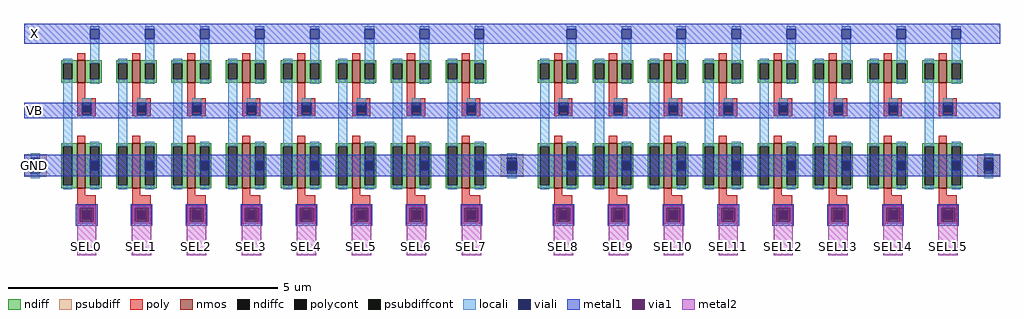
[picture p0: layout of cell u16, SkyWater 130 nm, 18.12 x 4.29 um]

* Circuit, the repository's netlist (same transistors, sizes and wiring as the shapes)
* NGSPICE file created from u16.ext - technology: sky130A

.subckt u16 SEL0 SEL1 SEL2 SEL3 SEL4 SEL5 SEL6 SEL7 SEL8 SEL9 SEL10 SEL11 SEL12 SEL13
+ SEL14 SEL15 X VB GND
X0 GND SEL9 a_2112_n392# GND sky130_fd_pr__nfet_01v8 ad=0.252 pd=2.28 as=0.252 ps=2.28 w=0.84 l=0.15
X1 X VB a_2928_n392# GND sky130_fd_pr__nfet_01v8 ad=0.126 pd=1.44 as=0.126 ps=1.44 w=0.42 l=0.15
X2 X VB a_342_n392# GND sky130_fd_pr__nfet_01v8 ad=0.126 pd=1.44 as=0.126 ps=1.44 w=0.42 l=0.15
X3 GND SEL5 a_1158_n392# GND sky130_fd_pr__nfet_01v8 ad=0.252 pd=2.28 as=0.252 ps=2.28 w=0.84 l=0.15
X4 GND SEL3 a_750_n392# GND sky130_fd_pr__nfet_01v8 ad=0.252 pd=2.28 as=0.252 ps=2.28 w=0.84 l=0.15
X5 X VB a_954_n392# GND sky130_fd_pr__nfet_01v8 ad=0.126 pd=1.44 as=0.126 ps=1.44 w=0.42 l=0.15
X6 X VB a_3132_n392# GND sky130_fd_pr__nfet_01v8 ad=0.126 pd=1.44 as=0.126 ps=1.44 w=0.42 l=0.15
X7 X VB a_546_n392# GND sky130_fd_pr__nfet_01v8 ad=0.126 pd=1.44 as=0.126 ps=1.44 w=0.42 l=0.15
X8 GND SEL13 a_2928_n392# GND sky130_fd_pr__nfet_01v8 ad=0.252 pd=2.28 as=0.252 ps=2.28 w=0.84 l=0.15
X9 GND SEL11 a_2520_n392# GND sky130_fd_pr__nfet_01v8 ad=0.252 pd=2.28 as=0.252 ps=2.28 w=0.84 l=0.15
X10 X VB a_1158_n392# GND sky130_fd_pr__nfet_01v8 ad=0.126 pd=1.44 as=0.126 ps=1.44 w=0.42 l=0.15
X11 X VB a_3336_n392# GND sky130_fd_pr__nfet_01v8 ad=0.126 pd=1.44 as=0.126 ps=1.44 w=0.42 l=0.15
X12 GND SEL14 a_3132_n392# GND sky130_fd_pr__nfet_01v8 ad=0.252 pd=2.28 as=0.252 ps=2.28 w=0.84 l=0.15
X13 GND SEL7 a_1566_n392# GND sky130_fd_pr__nfet_01v8 ad=0.252 pd=2.28 as=0.252 ps=2.28 w=0.84 l=0.15
X14 X VB a_1908_n392# GND sky130_fd_pr__nfet_01v8 ad=0.126 pd=1.44 as=0.126 ps=1.44 w=0.42 l=0.15
X15 X VB a_138_n392# GND sky130_fd_pr__nfet_01v8 ad=0.126 pd=1.44 as=0.126 ps=1.44 w=0.42 l=0.15
X16 X VB a_750_n392# GND sky130_fd_pr__nfet_01v8 ad=0.126 pd=1.44 as=0.126 ps=1.44 w=0.42 l=0.15
X17 GND SEL0 a_138_n392# GND sky130_fd_pr__nfet_01v8 ad=0.252 pd=2.28 as=0.252 ps=2.28 w=0.84 l=0.15
X18 GND SEL2 a_546_n392# GND sky130_fd_pr__nfet_01v8 ad=0.252 pd=2.28 as=0.252 ps=2.28 w=0.84 l=0.15
X19 X VB a_1362_n392# GND sky130_fd_pr__nfet_01v8 ad=0.126 pd=1.44 as=0.126 ps=1.44 w=0.42 l=0.15
X20 GND SEL10 a_2316_n392# GND sky130_fd_pr__nfet_01v8 ad=0.252 pd=2.28 as=0.252 ps=2.28 w=0.84 l=0.15
X21 X VB a_2112_n392# GND sky130_fd_pr__nfet_01v8 ad=0.126 pd=1.44 as=0.126 ps=1.44 w=0.42 l=0.15
X22 X VB a_1566_n392# GND sky130_fd_pr__nfet_01v8 ad=0.126 pd=1.44 as=0.126 ps=1.44 w=0.42 l=0.15
X23 GND SEL4 a_954_n392# GND sky130_fd_pr__nfet_01v8 ad=0.252 pd=2.28 as=0.252 ps=2.28 w=0.84 l=0.15
X24 X VB a_2316_n392# GND sky130_fd_pr__nfet_01v8 ad=0.126 pd=1.44 as=0.126 ps=1.44 w=0.42 l=0.15
X25 GND SEL12 a_2724_n392# GND sky130_fd_pr__nfet_01v8 ad=0.252 pd=2.28 as=0.252 ps=2.28 w=0.84 l=0.15
X26 X VB a_2520_n392# GND sky130_fd_pr__nfet_01v8 ad=0.126 pd=1.44 as=0.126 ps=1.44 w=0.42 l=0.15
X27 GND SEL15 a_3336_n392# GND sky130_fd_pr__nfet_01v8 ad=0.252 pd=2.28 as=0.252 ps=2.28 w=0.84 l=0.15
X28 GND SEL6 a_1362_n392# GND sky130_fd_pr__nfet_01v8 ad=0.252 pd=2.28 as=0.252 ps=2.28 w=0.84 l=0.15
X29 GND SEL1 a_342_n392# GND sky130_fd_pr__nfet_01v8 ad=0.252 pd=2.28 as=0.252 ps=2.28 w=0.84 l=0.15
X30 GND SEL8 a_1908_n392# GND sky130_fd_pr__nfet_01v8 ad=0.252 pd=2.28 as=0.252 ps=2.28 w=0.84 l=0.15
X31 X VB a_2724_n392# GND sky130_fd_pr__nfet_01v8 ad=0.126 pd=1.44 as=0.126 ps=1.44 w=0.42 l=0.15
.ends

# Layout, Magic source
magic
tech sky130A
magscale 1 2
<< nmos >>
rect 198 0 228 84
rect 402 0 432 84
rect 606 0 636 84
rect 810 0 840 84
rect 1014 0 1044 84
rect 1218 0 1248 84
rect 1422 0 1452 84
rect 1626 0 1656 84
rect 1968 0 1998 84
rect 2172 0 2202 84
rect 2376 0 2406 84
rect 2580 0 2610 84
rect 2784 0 2814 84
rect 2988 0 3018 84
rect 3192 0 3222 84
rect 3396 0 3426 84
rect 198 -392 228 -224
rect 402 -392 432 -224
rect 606 -392 636 -224
rect 810 -392 840 -224
rect 1014 -392 1044 -224
rect 1218 -392 1248 -224
rect 1422 -392 1452 -224
rect 1626 -392 1656 -224
rect 1968 -392 1998 -224
rect 2172 -392 2202 -224
rect 2376 -392 2406 -224
rect 2580 -392 2610 -224
rect 2784 -392 2814 -224
rect 2988 -392 3018 -224
rect 3192 -392 3222 -224
rect 3396 -392 3426 -224
<< ndiff >>
rect 138 72 198 84
rect 138 12 146 72
rect 180 12 198 72
rect 138 0 198 12
rect 228 72 288 84
rect 228 12 246 72
rect 280 12 288 72
rect 228 0 288 12
rect 342 72 402 84
rect 342 12 350 72
rect 384 12 402 72
rect 342 0 402 12
rect 432 72 492 84
rect 432 12 450 72
rect 484 12 492 72
rect 432 0 492 12
rect 546 72 606 84
rect 546 12 554 72
rect 588 12 606 72
rect 546 0 606 12
rect 636 72 696 84
rect 636 12 654 72
rect 688 12 696 72
rect 636 0 696 12
rect 750 72 810 84
rect 750 12 758 72
rect 792 12 810 72
rect 750 0 810 12
rect 840 72 900 84
rect 840 12 858 72
rect 892 12 900 72
rect 840 0 900 12
rect 954 72 1014 84
rect 954 12 962 72
rect 996 12 1014 72
rect 954 0 1014 12
rect 1044 72 1104 84
rect 1044 12 1062 72
rect 1096 12 1104 72
rect 1044 0 1104 12
rect 1158 72 1218 84
rect 1158 12 1166 72
rect 1200 12 1218 72
rect 1158 0 1218 12
rect 1248 72 1308 84
rect 1248 12 1266 72
rect 1300 12 1308 72
rect 1248 0 1308 12
rect 1362 72 1422 84
rect 1362 12 1370 72
rect 1404 12 1422 72
rect 1362 0 1422 12
rect 1452 72 1512 84
rect 1452 12 1470 72
rect 1504 12 1512 72
rect 1452 0 1512 12
rect 1566 72 1626 84
rect 1566 12 1574 72
rect 1608 12 1626 72
rect 1566 0 1626 12
rect 1656 72 1716 84
rect 1656 12 1674 72
rect 1708 12 1716 72
rect 1656 0 1716 12
rect 1908 72 1968 84
rect 1908 12 1916 72
rect 1950 12 1968 72
rect 1908 0 1968 12
rect 1998 72 2058 84
rect 1998 12 2016 72
rect 2050 12 2058 72
rect 1998 0 2058 12
rect 2112 72 2172 84
rect 2112 12 2120 72
rect 2154 12 2172 72
rect 2112 0 2172 12
rect 2202 72 2262 84
rect 2202 12 2220 72
rect 2254 12 2262 72
rect 2202 0 2262 12
rect 2316 72 2376 84
rect 2316 12 2324 72
rect 2358 12 2376 72
rect 2316 0 2376 12
rect 2406 72 2466 84
rect 2406 12 2424 72
rect 2458 12 2466 72
rect 2406 0 2466 12
rect 2520 72 2580 84
rect 2520 12 2528 72
rect 2562 12 2580 72
rect 2520 0 2580 12
rect 2610 72 2670 84
rect 2610 12 2628 72
rect 2662 12 2670 72
rect 2610 0 2670 12
rect 2724 72 2784 84
rect 2724 12 2732 72
rect 2766 12 2784 72
rect 2724 0 2784 12
rect 2814 72 2874 84
rect 2814 12 2832 72
rect 2866 12 2874 72
rect 2814 0 2874 12
rect 2928 72 2988 84
rect 2928 12 2936 72
rect 2970 12 2988 72
rect 2928 0 2988 12
rect 3018 72 3078 84
rect 3018 12 3036 72
rect 3070 12 3078 72
rect 3018 0 3078 12
rect 3132 72 3192 84
rect 3132 12 3140 72
rect 3174 12 3192 72
rect 3132 0 3192 12
rect 3222 72 3282 84
rect 3222 12 3240 72
rect 3274 12 3282 72
rect 3222 0 3282 12
rect 3336 72 3396 84
rect 3336 12 3344 72
rect 3378 12 3396 72
rect 3336 0 3396 12
rect 3426 72 3486 84
rect 3426 12 3444 72
rect 3478 12 3486 72
rect 3426 0 3486 12
rect 138 -236 198 -224
rect 138 -380 146 -236
rect 180 -380 198 -236
rect 138 -392 198 -380
rect 228 -236 288 -224
rect 228 -380 246 -236
rect 280 -380 288 -236
rect 228 -392 288 -380
rect 342 -236 402 -224
rect 342 -380 350 -236
rect 384 -380 402 -236
rect 342 -392 402 -380
rect 432 -236 492 -224
rect 432 -380 450 -236
rect 484 -380 492 -236
rect 432 -392 492 -380
rect 546 -236 606 -224
rect 546 -380 554 -236
rect 588 -380 606 -236
rect 546 -392 606 -380
rect 636 -236 696 -224
rect 636 -380 654 -236
rect 688 -380 696 -236
rect 636 -392 696 -380
rect 750 -236 810 -224
rect 750 -380 758 -236
rect 792 -380 810 -236
rect 750 -392 810 -380
rect 840 -236 900 -224
rect 840 -380 858 -236
rect 892 -380 900 -236
rect 840 -392 900 -380
rect 954 -236 1014 -224
rect 954 -380 962 -236
rect 996 -380 1014 -236
rect 954 -392 1014 -380
rect 1044 -236 1104 -224
rect 1044 -380 1062 -236
rect 1096 -380 1104 -236
rect 1044 -392 1104 -380
rect 1158 -236 1218 -224
rect 1158 -380 1166 -236
rect 1200 -380 1218 -236
rect 1158 -392 1218 -380
rect 1248 -236 1308 -224
rect 1248 -380 1266 -236
rect 1300 -380 1308 -236
rect 1248 -392 1308 -380
rect 1362 -236 1422 -224
rect 1362 -380 1370 -236
rect 1404 -380 1422 -236
rect 1362 -392 1422 -380
rect 1452 -236 1512 -224
rect 1452 -380 1470 -236
rect 1504 -380 1512 -236
rect 1452 -392 1512 -380
rect 1566 -236 1626 -224
rect 1566 -380 1574 -236
rect 1608 -380 1626 -236
rect 1566 -392 1626 -380
rect 1656 -236 1716 -224
rect 1656 -380 1674 -236
rect 1708 -380 1716 -236
rect 1908 -236 1968 -224
rect 1656 -392 1716 -380
rect 1908 -380 1916 -236
rect 1950 -380 1968 -236
rect 1908 -392 1968 -380
rect 1998 -236 2058 -224
rect 1998 -380 2016 -236
rect 2050 -380 2058 -236
rect 1998 -392 2058 -380
rect 2112 -236 2172 -224
rect 2112 -380 2120 -236
rect 2154 -380 2172 -236
rect 2112 -392 2172 -380
rect 2202 -236 2262 -224
rect 2202 -380 2220 -236
rect 2254 -380 2262 -236
rect 2202 -392 2262 -380
rect 2316 -236 2376 -224
rect 2316 -380 2324 -236
rect 2358 -380 2376 -236
rect 2316 -392 2376 -380
rect 2406 -236 2466 -224
rect 2406 -380 2424 -236
rect 2458 -380 2466 -236
rect 2406 -392 2466 -380
rect 2520 -236 2580 -224
rect 2520 -380 2528 -236
rect 2562 -380 2580 -236
rect 2520 -392 2580 -380
rect 2610 -236 2670 -224
rect 2610 -380 2628 -236
rect 2662 -380 2670 -236
rect 2610 -392 2670 -380
rect 2724 -236 2784 -224
rect 2724 -380 2732 -236
rect 2766 -380 2784 -236
rect 2724 -392 2784 -380
rect 2814 -236 2874 -224
rect 2814 -380 2832 -236
rect 2866 -380 2874 -236
rect 2814 -392 2874 -380
rect 2928 -236 2988 -224
rect 2928 -380 2936 -236
rect 2970 -380 2988 -236
rect 2928 -392 2988 -380
rect 3018 -236 3078 -224
rect 3018 -380 3036 -236
rect 3070 -380 3078 -236
rect 3018 -392 3078 -380
rect 3132 -236 3192 -224
rect 3132 -380 3140 -236
rect 3174 -380 3192 -236
rect 3132 -392 3192 -380
rect 3222 -236 3282 -224
rect 3222 -380 3240 -236
rect 3274 -380 3282 -236
rect 3222 -392 3282 -380
rect 3336 -236 3396 -224
rect 3336 -380 3344 -236
rect 3378 -380 3396 -236
rect 3336 -392 3396 -380
rect 3426 -236 3486 -224
rect 3426 -380 3444 -236
rect 3478 -380 3486 -236
rect 3426 -392 3486 -380
<< ndiffc >>
rect 146 12 180 72
rect 246 12 280 72
rect 350 12 384 72
rect 450 12 484 72
rect 554 12 588 72
rect 654 12 688 72
rect 758 12 792 72
rect 858 12 892 72
rect 962 12 996 72
rect 1062 12 1096 72
rect 1166 12 1200 72
rect 1266 12 1300 72
rect 1370 12 1404 72
rect 1470 12 1504 72
rect 1574 12 1608 72
rect 1674 12 1708 72
rect 1916 12 1950 72
rect 2016 12 2050 72
rect 2120 12 2154 72
rect 2220 12 2254 72
rect 2324 12 2358 72
rect 2424 12 2458 72
rect 2528 12 2562 72
rect 2628 12 2662 72
rect 2732 12 2766 72
rect 2832 12 2866 72
rect 2936 12 2970 72
rect 3036 12 3070 72
rect 3140 12 3174 72
rect 3240 12 3274 72
rect 3344 12 3378 72
rect 3444 12 3478 72
rect 146 -380 180 -236
rect 246 -380 280 -236
rect 350 -380 384 -236
rect 450 -380 484 -236
rect 554 -380 588 -236
rect 654 -380 688 -236
rect 758 -380 792 -236
rect 858 -380 892 -236
rect 962 -380 996 -236
rect 1062 -380 1096 -236
rect 1166 -380 1200 -236
rect 1266 -380 1300 -236
rect 1370 -380 1404 -236
rect 1470 -380 1504 -236
rect 1574 -380 1608 -236
rect 1674 -380 1708 -236
rect 1916 -380 1950 -236
rect 2016 -380 2050 -236
rect 2120 -380 2154 -236
rect 2220 -380 2254 -236
rect 2324 -380 2358 -236
rect 2424 -380 2458 -236
rect 2528 -380 2562 -236
rect 2628 -380 2662 -236
rect 2732 -380 2766 -236
rect 2832 -380 2866 -236
rect 2936 -380 2970 -236
rect 3036 -380 3070 -236
rect 3140 -380 3174 -236
rect 3240 -380 3274 -236
rect 3344 -380 3378 -236
rect 3444 -380 3478 -236
<< psubdiff >>
rect 0 -278 84 -266
rect 0 -338 25 -278
rect 59 -338 84 -278
rect 0 -350 84 -338
rect 1770 -278 1854 -266
rect 1770 -338 1795 -278
rect 1829 -338 1854 -278
rect 1770 -350 1854 -338
rect 3540 -278 3624 -266
rect 3540 -338 3565 -278
rect 3599 -338 3624 -278
rect 3540 -350 3624 -338
<< psubdiffcont >>
rect 25 -338 59 -278
rect 1795 -338 1829 -278
rect 3565 -338 3599 -278
<< poly >>
rect 198 84 228 110
rect 402 84 432 110
rect 606 84 636 110
rect 810 84 840 110
rect 1014 84 1044 110
rect 1218 84 1248 110
rect 1422 84 1452 110
rect 1626 84 1656 110
rect 1968 84 1998 110
rect 2172 84 2202 110
rect 2376 84 2406 110
rect 2580 84 2610 110
rect 2784 84 2814 110
rect 2988 84 3018 110
rect 3192 84 3222 110
rect 3396 84 3426 110
rect 198 -58 228 0
rect 402 -58 432 0
rect 606 -58 636 0
rect 810 -58 840 0
rect 1014 -58 1044 0
rect 1218 -58 1248 0
rect 1422 -58 1452 0
rect 1626 -58 1656 0
rect 1968 -58 1998 0
rect 2172 -58 2202 0
rect 2376 -58 2406 0
rect 2580 -58 2610 0
rect 2784 -58 2814 0
rect 2988 -58 3018 0
rect 3192 -58 3222 0
rect 3396 -58 3426 0
rect 198 -74 266 -58
rect 198 -108 216 -74
rect 250 -108 266 -74
rect 198 -124 266 -108
rect 402 -74 470 -58
rect 402 -108 420 -74
rect 454 -108 470 -74
rect 402 -124 470 -108
rect 606 -74 674 -58
rect 606 -108 624 -74
rect 658 -108 674 -74
rect 606 -124 674 -108
rect 810 -74 878 -58
rect 810 -108 828 -74
rect 862 -108 878 -74
rect 810 -124 878 -108
rect 1014 -74 1082 -58
rect 1014 -108 1032 -74
rect 1066 -108 1082 -74
rect 1014 -124 1082 -108
rect 1218 -74 1286 -58
rect 1218 -108 1236 -74
rect 1270 -108 1286 -74
rect 1218 -124 1286 -108
rect 1422 -74 1490 -58
rect 1422 -108 1440 -74
rect 1474 -108 1490 -74
rect 1422 -124 1490 -108
rect 1626 -74 1694 -58
rect 1626 -108 1644 -74
rect 1678 -108 1694 -74
rect 1626 -124 1694 -108
rect 1968 -74 2036 -58
rect 1968 -108 1986 -74
rect 2020 -108 2036 -74
rect 1968 -124 2036 -108
rect 2172 -74 2240 -58
rect 2172 -108 2190 -74
rect 2224 -108 2240 -74
rect 2172 -124 2240 -108
rect 2376 -74 2444 -58
rect 2376 -108 2394 -74
rect 2428 -108 2444 -74
rect 2376 -124 2444 -108
rect 2580 -74 2648 -58
rect 2580 -108 2598 -74
rect 2632 -108 2648 -74
rect 2580 -124 2648 -108
rect 2784 -74 2852 -58
rect 2784 -108 2802 -74
rect 2836 -108 2852 -74
rect 2784 -124 2852 -108
rect 2988 -74 3056 -58
rect 2988 -108 3006 -74
rect 3040 -108 3056 -74
rect 2988 -124 3056 -108
rect 3192 -74 3260 -58
rect 3192 -108 3210 -74
rect 3244 -108 3260 -74
rect 3192 -124 3260 -108
rect 3396 -74 3464 -58
rect 3396 -108 3414 -74
rect 3448 -108 3464 -74
rect 3396 -124 3464 -108
rect 198 -224 228 -198
rect 402 -224 432 -198
rect 606 -224 636 -198
rect 810 -224 840 -198
rect 1014 -224 1044 -198
rect 1218 -224 1248 -198
rect 1422 -224 1452 -198
rect 1626 -224 1656 -198
rect 1968 -224 1998 -198
rect 2172 -224 2202 -198
rect 2376 -224 2406 -198
rect 2580 -224 2610 -198
rect 2784 -224 2814 -198
rect 2988 -224 3018 -198
rect 3192 -224 3222 -198
rect 3396 -224 3426 -198
rect 198 -418 228 -392
rect 402 -418 432 -392
rect 606 -418 636 -392
rect 810 -418 840 -392
rect 1014 -418 1044 -392
rect 1218 -418 1248 -392
rect 1422 -418 1452 -392
rect 1626 -418 1656 -392
rect 1968 -418 1998 -392
rect 2172 -418 2202 -392
rect 2376 -418 2406 -392
rect 2580 -418 2610 -392
rect 2784 -418 2814 -392
rect 2988 -418 3018 -392
rect 3192 -418 3222 -392
rect 3396 -418 3426 -392
rect 198 -474 266 -418
rect 198 -508 216 -474
rect 250 -508 266 -474
rect 198 -524 266 -508
rect 402 -474 470 -418
rect 402 -508 420 -474
rect 454 -508 470 -474
rect 402 -524 470 -508
rect 606 -474 674 -418
rect 606 -508 624 -474
rect 658 -508 674 -474
rect 606 -524 674 -508
rect 810 -474 878 -418
rect 810 -508 828 -474
rect 862 -508 878 -474
rect 810 -524 878 -508
rect 1014 -474 1082 -418
rect 1014 -508 1032 -474
rect 1066 -508 1082 -474
rect 1014 -524 1082 -508
rect 1218 -474 1286 -418
rect 1218 -508 1236 -474
rect 1270 -508 1286 -474
rect 1218 -524 1286 -508
rect 1422 -474 1490 -418
rect 1422 -508 1440 -474
rect 1474 -508 1490 -474
rect 1422 -524 1490 -508
rect 1626 -474 1694 -418
rect 1626 -508 1644 -474
rect 1678 -508 1694 -474
rect 1626 -524 1694 -508
rect 1968 -474 2036 -418
rect 1968 -508 1986 -474
rect 2020 -508 2036 -474
rect 1968 -524 2036 -508
rect 2172 -474 2240 -418
rect 2172 -508 2190 -474
rect 2224 -508 2240 -474
rect 2172 -524 2240 -508
rect 2376 -474 2444 -418
rect 2376 -508 2394 -474
rect 2428 -508 2444 -474
rect 2376 -524 2444 -508
rect 2580 -474 2648 -418
rect 2580 -508 2598 -474
rect 2632 -508 2648 -474
rect 2580 -524 2648 -508
rect 2784 -474 2852 -418
rect 2784 -508 2802 -474
rect 2836 -508 2852 -474
rect 2784 -524 2852 -508
rect 2988 -474 3056 -418
rect 2988 -508 3006 -474
rect 3040 -508 3056 -474
rect 2988 -524 3056 -508
rect 3192 -474 3260 -418
rect 3192 -508 3210 -474
rect 3244 -508 3260 -474
rect 3192 -524 3260 -508
rect 3396 -474 3464 -418
rect 3396 -508 3414 -474
rect 3448 -508 3464 -474
rect 3396 -524 3464 -508
<< polycont >>
rect 216 -108 250 -74
rect 420 -108 454 -74
rect 624 -108 658 -74
rect 828 -108 862 -74
rect 1032 -108 1066 -74
rect 1236 -108 1270 -74
rect 1440 -108 1474 -74
rect 1644 -108 1678 -74
rect 1986 -108 2020 -74
rect 2190 -108 2224 -74
rect 2394 -108 2428 -74
rect 2598 -108 2632 -74
rect 2802 -108 2836 -74
rect 3006 -108 3040 -74
rect 3210 -108 3244 -74
rect 3414 -108 3448 -74
rect 216 -508 250 -474
rect 420 -508 454 -474
rect 624 -508 658 -474
rect 828 -508 862 -474
rect 1032 -508 1066 -474
rect 1236 -508 1270 -474
rect 1440 -508 1474 -474
rect 1644 -508 1678 -474
rect 1986 -508 2020 -474
rect 2190 -508 2224 -474
rect 2394 -508 2428 -474
rect 2598 -508 2632 -474
rect 2802 -508 2836 -474
rect 3006 -508 3040 -474
rect 3210 -508 3244 -474
rect 3414 -508 3448 -474
<< locali >>
rect 246 198 280 210
rect 146 72 180 88
rect 146 -236 180 12
rect 246 72 280 164
rect 450 198 484 210
rect 246 -4 280 12
rect 350 72 384 88
rect 216 -74 250 -58
rect 216 -124 250 -120
rect 25 -278 59 -262
rect 25 -354 59 -338
rect 146 -396 180 -380
rect 246 -236 280 -220
rect 246 -396 280 -380
rect 350 -236 384 12
rect 450 72 484 164
rect 654 198 688 210
rect 450 -4 484 12
rect 554 72 588 88
rect 420 -74 454 -58
rect 420 -124 454 -120
rect 350 -396 384 -380
rect 450 -236 484 -220
rect 450 -396 484 -380
rect 554 -236 588 12
rect 654 72 688 164
rect 858 198 892 210
rect 654 -4 688 12
rect 758 72 792 88
rect 624 -74 658 -58
rect 624 -124 658 -120
rect 554 -396 588 -380
rect 654 -236 688 -220
rect 654 -396 688 -380
rect 758 -236 792 12
rect 858 72 892 164
rect 1062 198 1096 210
rect 858 -4 892 12
rect 962 72 996 88
rect 828 -74 862 -58
rect 828 -124 862 -120
rect 758 -396 792 -380
rect 858 -236 892 -220
rect 858 -396 892 -380
rect 962 -236 996 12
rect 1062 72 1096 164
rect 1266 198 1300 210
rect 1062 -4 1096 12
rect 1166 72 1200 88
rect 1032 -74 1066 -58
rect 1032 -124 1066 -120
rect 962 -396 996 -380
rect 1062 -236 1096 -220
rect 1062 -396 1096 -380
rect 1166 -236 1200 12
rect 1266 72 1300 164
rect 1470 198 1504 210
rect 1266 -4 1300 12
rect 1370 72 1404 88
rect 1236 -74 1270 -58
rect 1236 -124 1270 -120
rect 1166 -396 1200 -380
rect 1266 -236 1300 -220
rect 1266 -396 1300 -380
rect 1370 -236 1404 12
rect 1470 72 1504 164
rect 1674 198 1708 210
rect 1470 -4 1504 12
rect 1574 72 1608 88
rect 1440 -74 1474 -58
rect 1440 -124 1474 -120
rect 1370 -396 1404 -380
rect 1470 -236 1504 -220
rect 1470 -396 1504 -380
rect 1574 -236 1608 12
rect 1674 72 1708 164
rect 2016 198 2050 210
rect 1674 -4 1708 12
rect 1916 72 1950 88
rect 1644 -74 1678 -58
rect 1644 -124 1678 -120
rect 1574 -396 1608 -380
rect 1674 -236 1708 -220
rect 1916 -236 1950 12
rect 2016 72 2050 164
rect 2220 198 2254 210
rect 2016 -4 2050 12
rect 2120 72 2154 88
rect 1986 -74 2020 -58
rect 1986 -124 2020 -120
rect 1795 -278 1829 -262
rect 1795 -354 1829 -338
rect 1674 -396 1708 -380
rect 1916 -396 1950 -380
rect 2016 -236 2050 -220
rect 2016 -396 2050 -380
rect 2120 -236 2154 12
rect 2220 72 2254 164
rect 2424 198 2458 210
rect 2220 -4 2254 12
rect 2324 72 2358 88
rect 2190 -74 2224 -58
rect 2190 -124 2224 -120
rect 2120 -396 2154 -380
rect 2220 -236 2254 -220
rect 2220 -396 2254 -380
rect 2324 -236 2358 12
rect 2424 72 2458 164
rect 2628 198 2662 210
rect 2424 -4 2458 12
rect 2528 72 2562 88
rect 2394 -74 2428 -58
rect 2394 -124 2428 -120
rect 2324 -396 2358 -380
rect 2424 -236 2458 -220
rect 2424 -396 2458 -380
rect 2528 -236 2562 12
rect 2628 72 2662 164
rect 2832 198 2866 210
rect 2628 -4 2662 12
rect 2732 72 2766 88
rect 2598 -74 2632 -58
rect 2598 -124 2632 -120
rect 2528 -396 2562 -380
rect 2628 -236 2662 -220
rect 2628 -396 2662 -380
rect 2732 -236 2766 12
rect 2832 72 2866 164
rect 3036 198 3070 210
rect 2832 -4 2866 12
rect 2936 72 2970 88
rect 2802 -74 2836 -58
rect 2802 -124 2836 -120
rect 2732 -396 2766 -380
rect 2832 -236 2866 -220
rect 2832 -396 2866 -380
rect 2936 -236 2970 12
rect 3036 72 3070 164
rect 3240 198 3274 210
rect 3036 -4 3070 12
rect 3140 72 3174 88
rect 3006 -74 3040 -58
rect 3006 -124 3040 -120
rect 2936 -396 2970 -380
rect 3036 -236 3070 -220
rect 3036 -396 3070 -380
rect 3140 -236 3174 12
rect 3240 72 3274 164
rect 3444 198 3478 210
rect 3240 -4 3274 12
rect 3344 72 3378 88
rect 3210 -74 3244 -58
rect 3210 -124 3244 -120
rect 3140 -396 3174 -380
rect 3240 -236 3274 -220
rect 3240 -396 3274 -380
rect 3344 -236 3378 12
rect 3444 72 3478 164
rect 3444 -4 3478 12
rect 3414 -74 3448 -58
rect 3414 -124 3448 -120
rect 3344 -396 3378 -380
rect 3444 -236 3478 -220
rect 3565 -278 3599 -262
rect 3565 -354 3599 -338
rect 3444 -396 3478 -380
rect 216 -474 250 -458
rect 216 -524 250 -508
rect 420 -474 454 -458
rect 420 -524 454 -508
rect 624 -474 658 -458
rect 624 -524 658 -508
rect 828 -474 862 -458
rect 828 -524 862 -508
rect 1032 -474 1066 -458
rect 1032 -524 1066 -508
rect 1236 -474 1270 -458
rect 1236 -524 1270 -508
rect 1440 -474 1474 -458
rect 1440 -524 1474 -508
rect 1644 -474 1678 -458
rect 1644 -524 1678 -508
rect 1986 -474 2020 -458
rect 1986 -524 2020 -508
rect 2190 -474 2224 -458
rect 2190 -524 2224 -508
rect 2394 -474 2428 -458
rect 2394 -524 2428 -508
rect 2598 -474 2632 -458
rect 2598 -524 2632 -508
rect 2802 -474 2836 -458
rect 2802 -524 2836 -508
rect 3006 -474 3040 -458
rect 3006 -524 3040 -508
rect 3210 -474 3244 -458
rect 3210 -524 3244 -508
rect 3414 -474 3448 -458
rect 3414 -524 3448 -508
<< viali >>
rect 246 164 280 198
rect 450 164 484 198
rect 216 -108 250 -86
rect 216 -120 250 -108
rect 25 -325 59 -291
rect 246 -325 280 -291
rect 654 164 688 198
rect 420 -108 454 -86
rect 420 -120 454 -108
rect 450 -325 484 -291
rect 858 164 892 198
rect 624 -108 658 -86
rect 624 -120 658 -108
rect 654 -325 688 -291
rect 1062 164 1096 198
rect 828 -108 862 -86
rect 828 -120 862 -108
rect 858 -325 892 -291
rect 1266 164 1300 198
rect 1032 -108 1066 -86
rect 1032 -120 1066 -108
rect 1062 -325 1096 -291
rect 1470 164 1504 198
rect 1236 -108 1270 -86
rect 1236 -120 1270 -108
rect 1266 -325 1300 -291
rect 1674 164 1708 198
rect 1440 -108 1474 -86
rect 1440 -120 1474 -108
rect 1470 -325 1504 -291
rect 2016 164 2050 198
rect 1644 -108 1678 -86
rect 1644 -120 1678 -108
rect 2220 164 2254 198
rect 1986 -108 2020 -86
rect 1986 -120 2020 -108
rect 1674 -325 1708 -291
rect 1795 -325 1829 -291
rect 2016 -325 2050 -291
rect 2424 164 2458 198
rect 2190 -108 2224 -86
rect 2190 -120 2224 -108
rect 2220 -325 2254 -291
rect 2628 164 2662 198
rect 2394 -108 2428 -86
rect 2394 -120 2428 -108
rect 2424 -325 2458 -291
rect 2832 164 2866 198
rect 2598 -108 2632 -86
rect 2598 -120 2632 -108
rect 2628 -325 2662 -291
rect 3036 164 3070 198
rect 2802 -108 2836 -86
rect 2802 -120 2836 -108
rect 2832 -325 2866 -291
rect 3240 164 3274 198
rect 3006 -108 3040 -86
rect 3006 -120 3040 -108
rect 3036 -325 3070 -291
rect 3444 164 3478 198
rect 3210 -108 3244 -86
rect 3210 -120 3244 -108
rect 3240 -325 3274 -291
rect 3414 -108 3448 -86
rect 3414 -120 3448 -108
rect 3444 -325 3478 -291
rect 3565 -325 3599 -291
rect 216 -508 250 -474
rect 420 -508 454 -474
rect 624 -508 658 -474
rect 828 -508 862 -474
rect 1032 -508 1066 -474
rect 1236 -508 1270 -474
rect 1440 -508 1474 -474
rect 1644 -508 1678 -474
rect 1986 -508 2020 -474
rect 2190 -508 2224 -474
rect 2394 -508 2428 -474
rect 2598 -508 2632 -474
rect 2802 -508 2836 -474
rect 3006 -508 3040 -474
rect 3210 -508 3244 -474
rect 3414 -508 3448 -474
<< metal1 >>
rect 0 198 3624 218
rect 0 164 246 198
rect 280 164 450 198
rect 484 164 654 198
rect 688 164 858 198
rect 892 164 1062 198
rect 1096 164 1266 198
rect 1300 164 1470 198
rect 1504 164 1674 198
rect 1708 164 2016 198
rect 2050 164 2220 198
rect 2254 164 2424 198
rect 2458 164 2628 198
rect 2662 164 2832 198
rect 2866 164 3036 198
rect 3070 164 3240 198
rect 3274 164 3444 198
rect 3478 164 3624 198
rect 0 144 3624 164
rect 0 -86 3624 -74
rect 0 -120 216 -86
rect 250 -120 420 -86
rect 454 -120 624 -86
rect 658 -120 828 -86
rect 862 -120 1032 -86
rect 1066 -120 1236 -86
rect 1270 -120 1440 -86
rect 1474 -120 1644 -86
rect 1678 -120 1986 -86
rect 2020 -120 2190 -86
rect 2224 -120 2394 -86
rect 2428 -120 2598 -86
rect 2632 -120 2802 -86
rect 2836 -120 3006 -86
rect 3040 -120 3210 -86
rect 3244 -120 3414 -86
rect 3448 -120 3624 -86
rect 0 -132 3624 -120
rect 0 -291 3624 -268
rect 0 -325 25 -291
rect 59 -325 246 -291
rect 280 -325 450 -291
rect 484 -325 654 -291
rect 688 -325 858 -291
rect 892 -325 1062 -291
rect 1096 -325 1266 -291
rect 1300 -325 1470 -291
rect 1504 -325 1674 -291
rect 1708 -325 1795 -291
rect 1829 -325 2016 -291
rect 2050 -325 2220 -291
rect 2254 -325 2424 -291
rect 2458 -325 2628 -291
rect 2662 -325 2832 -291
rect 2866 -325 3036 -291
rect 3070 -325 3240 -291
rect 3274 -325 3444 -291
rect 3478 -325 3565 -291
rect 3599 -325 3624 -291
rect 0 -348 3624 -325
rect 193 -465 273 -451
rect 193 -517 207 -465
rect 259 -517 273 -465
rect 193 -531 273 -517
rect 397 -465 477 -451
rect 397 -517 411 -465
rect 463 -517 477 -465
rect 397 -531 477 -517
rect 601 -465 681 -451
rect 601 -517 615 -465
rect 667 -517 681 -465
rect 601 -531 681 -517
rect 805 -465 885 -451
rect 805 -517 819 -465
rect 871 -517 885 -465
rect 805 -531 885 -517
rect 1009 -465 1089 -451
rect 1009 -517 1023 -465
rect 1075 -517 1089 -465
rect 1009 -531 1089 -517
rect 1213 -465 1293 -451
rect 1213 -517 1227 -465
rect 1279 -517 1293 -465
rect 1213 -531 1293 -517
rect 1417 -465 1497 -451
rect 1417 -517 1431 -465
rect 1483 -517 1497 -465
rect 1417 -531 1497 -517
rect 1621 -465 1701 -451
rect 1621 -517 1635 -465
rect 1687 -517 1701 -465
rect 1621 -531 1701 -517
rect 1963 -465 2043 -451
rect 1963 -517 1977 -465
rect 2029 -517 2043 -465
rect 1963 -531 2043 -517
rect 2167 -465 2247 -451
rect 2167 -517 2181 -465
rect 2233 -517 2247 -465
rect 2167 -531 2247 -517
rect 2371 -465 2451 -451
rect 2371 -517 2385 -465
rect 2437 -517 2451 -465
rect 2371 -531 2451 -517
rect 2575 -465 2655 -451
rect 2575 -517 2589 -465
rect 2641 -517 2655 -465
rect 2575 -531 2655 -517
rect 2779 -465 2859 -451
rect 2779 -517 2793 -465
rect 2845 -517 2859 -465
rect 2779 -531 2859 -517
rect 2983 -465 3063 -451
rect 2983 -517 2997 -465
rect 3049 -517 3063 -465
rect 2983 -531 3063 -517
rect 3187 -465 3267 -451
rect 3187 -517 3201 -465
rect 3253 -517 3267 -465
rect 3187 -531 3267 -517
rect 3391 -465 3471 -451
rect 3391 -517 3405 -465
rect 3457 -517 3471 -465
rect 3391 -531 3471 -517
<< via1 >>
rect 207 -474 259 -465
rect 207 -508 216 -474
rect 216 -508 250 -474
rect 250 -508 259 -474
rect 207 -517 259 -508
rect 411 -474 463 -465
rect 411 -508 420 -474
rect 420 -508 454 -474
rect 454 -508 463 -474
rect 411 -517 463 -508
rect 615 -474 667 -465
rect 615 -508 624 -474
rect 624 -508 658 -474
rect 658 -508 667 -474
rect 615 -517 667 -508
rect 819 -474 871 -465
rect 819 -508 828 -474
rect 828 -508 862 -474
rect 862 -508 871 -474
rect 819 -517 871 -508
rect 1023 -474 1075 -465
rect 1023 -508 1032 -474
rect 1032 -508 1066 -474
rect 1066 -508 1075 -474
rect 1023 -517 1075 -508
rect 1227 -474 1279 -465
rect 1227 -508 1236 -474
rect 1236 -508 1270 -474
rect 1270 -508 1279 -474
rect 1227 -517 1279 -508
rect 1431 -474 1483 -465
rect 1431 -508 1440 -474
rect 1440 -508 1474 -474
rect 1474 -508 1483 -474
rect 1431 -517 1483 -508
rect 1635 -474 1687 -465
rect 1635 -508 1644 -474
rect 1644 -508 1678 -474
rect 1678 -508 1687 -474
rect 1635 -517 1687 -508
rect 1977 -474 2029 -465
rect 1977 -508 1986 -474
rect 1986 -508 2020 -474
rect 2020 -508 2029 -474
rect 1977 -517 2029 -508
rect 2181 -474 2233 -465
rect 2181 -508 2190 -474
rect 2190 -508 2224 -474
rect 2224 -508 2233 -474
rect 2181 -517 2233 -508
rect 2385 -474 2437 -465
rect 2385 -508 2394 -474
rect 2394 -508 2428 -474
rect 2428 -508 2437 -474
rect 2385 -517 2437 -508
rect 2589 -474 2641 -465
rect 2589 -508 2598 -474
rect 2598 -508 2632 -474
rect 2632 -508 2641 -474
rect 2589 -517 2641 -508
rect 2793 -474 2845 -465
rect 2793 -508 2802 -474
rect 2802 -508 2836 -474
rect 2836 -508 2845 -474
rect 2793 -517 2845 -508
rect 2997 -474 3049 -465
rect 2997 -508 3006 -474
rect 3006 -508 3040 -474
rect 3040 -508 3049 -474
rect 2997 -517 3049 -508
rect 3201 -474 3253 -465
rect 3201 -508 3210 -474
rect 3210 -508 3244 -474
rect 3244 -508 3253 -474
rect 3201 -517 3253 -508
rect 3405 -474 3457 -465
rect 3405 -508 3414 -474
rect 3414 -508 3448 -474
rect 3448 -508 3457 -474
rect 3405 -517 3457 -508
<< metal2 >>
rect 197 -465 269 -455
rect 197 -517 207 -465
rect 259 -517 269 -465
rect 197 -640 269 -517
rect 401 -465 473 -455
rect 401 -517 411 -465
rect 463 -517 473 -465
rect 401 -640 473 -517
rect 605 -465 677 -455
rect 605 -517 615 -465
rect 667 -517 677 -465
rect 605 -640 677 -517
rect 809 -465 881 -455
rect 809 -517 819 -465
rect 871 -517 881 -465
rect 809 -640 881 -517
rect 1013 -465 1085 -455
rect 1013 -517 1023 -465
rect 1075 -517 1085 -465
rect 1013 -640 1085 -517
rect 1217 -465 1289 -455
rect 1217 -517 1227 -465
rect 1279 -517 1289 -465
rect 1217 -640 1289 -517
rect 1421 -465 1493 -455
rect 1421 -517 1431 -465
rect 1483 -517 1493 -465
rect 1421 -640 1493 -517
rect 1625 -465 1697 -455
rect 1625 -517 1635 -465
rect 1687 -517 1697 -465
rect 1625 -640 1697 -517
rect 1967 -465 2039 -455
rect 1967 -517 1977 -465
rect 2029 -517 2039 -465
rect 1967 -640 2039 -517
rect 2171 -465 2243 -455
rect 2171 -517 2181 -465
rect 2233 -517 2243 -465
rect 2171 -640 2243 -517
rect 2375 -465 2447 -455
rect 2375 -517 2385 -465
rect 2437 -517 2447 -465
rect 2375 -640 2447 -517
rect 2579 -465 2651 -455
rect 2579 -517 2589 -465
rect 2641 -517 2651 -465
rect 2579 -640 2651 -517
rect 2783 -465 2855 -455
rect 2783 -517 2793 -465
rect 2845 -517 2855 -465
rect 2783 -640 2855 -517
rect 2987 -465 3059 -455
rect 2987 -517 2997 -465
rect 3049 -517 3059 -465
rect 2987 -640 3059 -517
rect 3191 -465 3263 -455
rect 3191 -517 3201 -465
rect 3253 -517 3263 -465
rect 3191 -640 3263 -517
rect 3395 -465 3467 -455
rect 3395 -517 3405 -465
rect 3457 -517 3467 -465
rect 3395 -640 3467 -517
<< labels >>
flabel metal2 197 -640 269 -580 0 FreeSans 320 0 0 0 SEL0
port 1 nsew
flabel metal2 401 -640 473 -580 0 FreeSans 320 0 0 0 SEL1
port 2 nsew
flabel metal2 605 -640 677 -580 0 FreeSans 320 0 0 0 SEL2
port 3 nsew
flabel metal2 809 -640 881 -580 0 FreeSans 320 0 0 0 SEL3
port 4 nsew
flabel metal2 1013 -640 1085 -580 0 FreeSans 320 0 0 0 SEL4
port 5 nsew
flabel metal2 1217 -640 1289 -580 0 FreeSans 320 0 0 0 SEL5
port 6 nsew
flabel metal2 1421 -640 1493 -580 0 FreeSans 320 0 0 0 SEL6
port 7 nsew
flabel metal2 1625 -640 1697 -580 0 FreeSans 320 0 0 0 SEL7
port 8 nsew
flabel metal2 1967 -640 2039 -580 0 FreeSans 320 0 0 0 SEL8
port 9 nsew
flabel metal2 2171 -640 2243 -580 0 FreeSans 320 0 0 0 SEL9
port 10 nsew
flabel metal2 2375 -640 2447 -580 0 FreeSans 320 0 0 0 SEL10
port 11 nsew
flabel metal2 2579 -640 2651 -580 0 FreeSans 320 0 0 0 SEL11
port 12 nsew
flabel metal2 2783 -640 2855 -580 0 FreeSans 320 0 0 0 SEL12
port 13 nsew
flabel metal2 2987 -640 3059 -580 0 FreeSans 320 0 0 0 SEL13
port 14 nsew
flabel metal2 3191 -640 3263 -580 0 FreeSans 320 0 0 0 SEL14
port 15 nsew
flabel metal2 3395 -640 3467 -580 0 FreeSans 320 0 0 0 SEL15
port 16 nsew
flabel metal1 0 144 80 218 0 FreeSans 320 0 0 0 X
port 17 nsew
flabel metal1 0 -132 80 -74 0 FreeSans 320 0 0 0 VB
port 18 nsew
flabel metal1 0 -348 80 -268 0 FreeSans 320 0 0 0 GND
port 19 nsew
<< end >>
